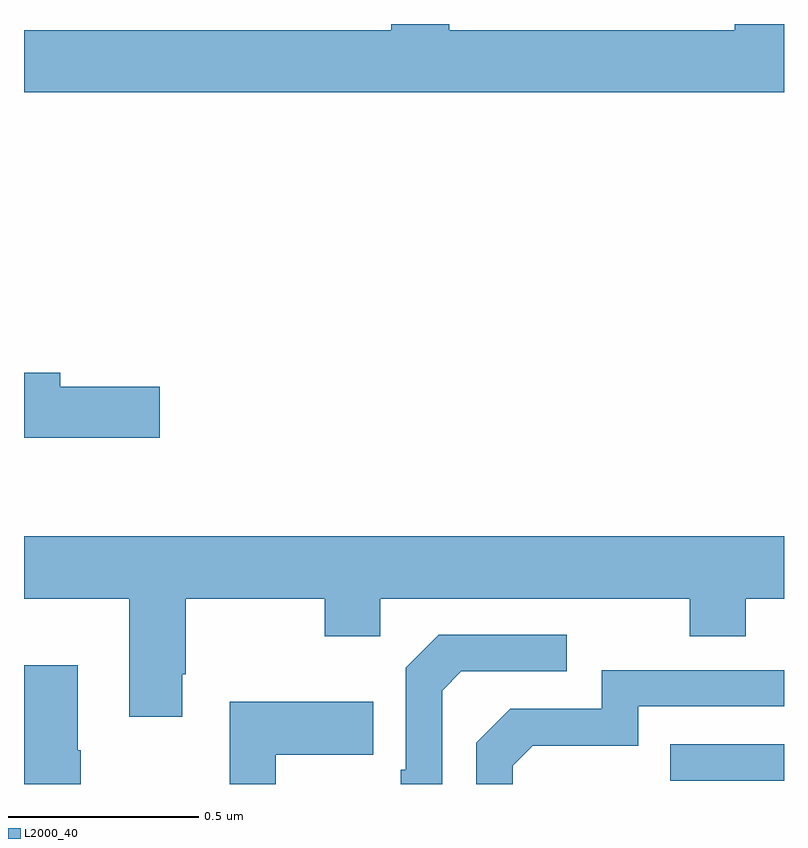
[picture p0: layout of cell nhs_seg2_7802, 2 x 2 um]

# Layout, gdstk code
import gdstk
lib = gdstk.Library(unit=1e-6, precision=1e-09)
def R(c, l, rs):  # rectangles x0, y0, x1, y1
    for r in rs: c.add(gdstk.rectangle(r[:2], r[2:], *l))
def P(c, l, *ps):  # polygons
    for p in ps: c.add(gdstk.Polygon(p, *l))
L2000_40 = (2000, 40)

nhs_seg2_7802 = lib.new_cell('nhs_seg2_7802')
R(nhs_seg2_7802, L2000_40, [(209.701,661.809,210,661.905)])
P(nhs_seg2_7802, L2000_40, [(210,663.8),(209.871,663.8),(209.871,663.784),(209.119,663.784),(209.119,663.8),(208.967,663.8),(208.967,663.784),(208,663.784),(208,663.62),(210,663.62)],
  [(208.357,662.846),(208.096,662.846),(208.096,662.882),(208,662.882),(208,662.711),(208.357,662.711)],
  [(208,662.288),(208.277,662.288),(208.277,661.977),(208.417,661.977),(208.417,662.089),(208.425,662.089),(208.425,662.288),(208.792,662.288),(208.792,662.189),(208.938,662.189),(208.938,662.288),(209.752,662.288),(209.752,662.189),(209.899,662.189),(209.899,662.288),(210,662.288),(210,662.452),(208,662.452)],
  [(209.1,662.046),(209.151,662.097),(209.428,662.097),(209.428,662.193),(209.091,662.193),(209.004,662.106),(209.004,661.837),(208.992,661.837),(208.992,661.8),(209.1,661.8)],
  [(208.149,661.889),(208.141,661.889),(208.141,662.113),(208,662.113),(208,661.8),(208.149,661.8)],
  [(209.286,661.848),(209.339,661.901),(209.616,661.901),(209.616,662.004),(210,662.004),(210,662.1),(209.52,662.1),(209.52,661.998),(209.28,661.998),(209.19,661.908),(209.19,661.8),(209.286,661.8)],
  [(208.663,661.877),(208.919,661.877),(208.919,662.017),(208.542,662.017),(208.542,661.8),(208.663,661.8)])

lib.write_gds('nhs_seg2_7802.gds')
